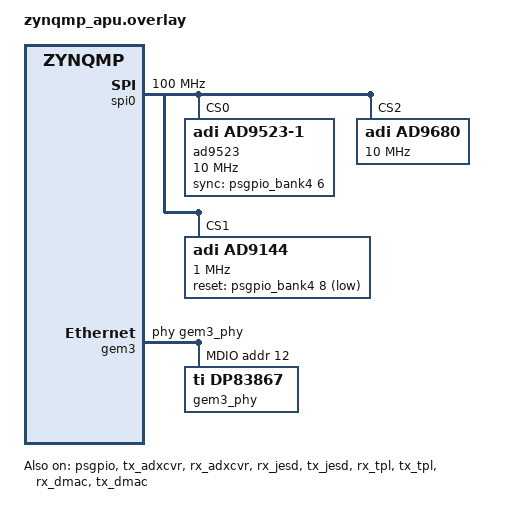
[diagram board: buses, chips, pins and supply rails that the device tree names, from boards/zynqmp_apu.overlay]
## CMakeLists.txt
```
# SPDX-License-Identifier: Apache-2.0

cmake_minimum_required(VERSION 3.28.0)

find_package(Zephyr REQUIRED HINTS $ENV{ZEPHYR_BASE})
project(daq2)

target_sources(app PRIVATE
	src/main.c
	src/daq2_bringup.c
)
target_include_directories(app PRIVATE src)
```

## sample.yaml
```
sample:
  name: DAQ2 bring-up
  description: >
    Placeholder DAQ2 (AD9680 ADC + AD9144 DAC FMC) bring-up sample. Currently a
    plain hello world; the JESD204/DMA datapath in the ZynqMP programmable logic
    will be layered on later, mirroring samples/drivers/misc/ad9081. Boot with
    scripts/flash.sh daq2, which loads the matching bitstreams/daq2 PL bitstream.
tests:
  sample.daq2:
    platform_allow:
      - zynqmp_apu
    harness: console
    harness_config:
      type: one_line
      regex:
        - "DAQ2 hello world! (.*)"
```

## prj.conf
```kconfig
# Placeholder DAQ2 sample: a plain "hello world" for now. The DAQ2 datapath
# (JESD204/DMA in the PL) will be layered on later, mirroring
# samples/drivers/misc/ad9081.
#
# The options below are the board/boot-relevant subset carried over from the
# ad9081 sample so this boots cleanly on the ZCU102 A53 with a PL bitstream
# loaded. The AD9081-specific driver enables (CONFIG_SPI / CONFIG_JESD204_AXI /
# CONFIG_HAL_ADI_AD9081 / CONFIG_AD9081 / CONFIG_DMA / CONFIG_LIBIIO ...) are
# deliberately NOT here: they require the matching devicetree nodes, which live
# in an overlay this sample does not have yet, and they target different silicon.

# Console logging, written synchronously so nothing is lost across the handoff
# from U-Boot `go` into Zephyr.
CONFIG_LOG=y
CONFIG_LOG_MODE_IMMEDIATE=y

# DAQ2 clock generator (AD9523-1) over PS SPI. CONFIG_CLOCK_CONTROL_AD9523 and
# SPI are auto-selected from the devicetree node in boards/zynqmp_apu.overlay;
# these two are the subsystem enables the driver builds on.
CONFIG_SPI=y
CONFIG_CLOCK_CONTROL=y

# DAQ2 JESD204B datapath: builds the transceiver (adxcvr) + JESD204 link cores
# (and TPL, unused in Phase 1) from the tx_/rx_adxcvr and tx_/rx_jesd nodes in
# boards/zynqmp_apu.overlay. Single symbol, as in samples/drivers/misc/ad9081.
CONFIG_JESD204_AXI=y

# Generic JESD204 bring-up FSM (subsys/jesd204): the device-walking state machine.
CONFIG_JESD204=y

# Every PL register access uses the physical address from devicetree directly.
# Implied by arm64's `select KERNEL_DIRECT_MAP if MMU`, but stated explicitly to
# match the ad9081 boot environment.
CONFIG_KERNEL_DIRECT_MAP=y

# Headroom for 1:1 device_map() of PL AXI IP-core pages once a datapath overlay
# is added; the default (12) runs out. Harmless for hello world.
CONFIG_MAX_XLAT_TABLES=24

# ZynqMP PS EMIO GPIO: drives the AD9144 RESETB (the generic BOOT.BIN psu_init
# leaves it undriven, so the DAC stays in reset without this).
CONFIG_GPIO=y

# DAQ2 datapath DMA: the adi,axi-dmac driver for the rx_dmac/tx_dmac nodes in
# boards/zynqmp_apu.overlay is auto-selected from the DT node under this symbol.
# Used for ADC capture (S2MM) and DAC playback (MM2S). TPL already builds under
# CONFIG_JESD204_AXI above.
CONFIG_DMA=y

# IIOD capture blocks are malloc'd; a 256 KiB block (-b 65536, 2ch, s16) needs
# several in flight, so 1 MiB arena. Matches the ad4630 zedboard sample.
CONFIG_HEAP_MEM_POOL_SIZE=262144
CONFIG_COMMON_LIBC_MALLOC_ARENA_SIZE=1048576
```

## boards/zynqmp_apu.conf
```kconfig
# ZCU102 ethernet for IIOD over TCP (`-S iiod-network`). Values from samples/net/zperf.
CONFIG_NETWORKING=y
CONFIG_NET_L2_ETHERNET=y
CONFIG_ETH_DRIVER=y
CONFIG_MDIO=y
CONFIG_ETH_XLNX_GEM=y
CONFIG_PHY_TI_DP83867=y
CONFIG_NET_MGMT_EVENT_STACK_SIZE=2048
CONFIG_TEST_RANDOM_GENERATOR=y
```

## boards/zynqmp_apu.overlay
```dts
/*
 * Copyright (c) 2026 Analog Devices, Inc.
 *
 * SPDX-License-Identifier: Apache-2.0
 */

#include <zephyr/dt-bindings/interrupt-controller/arm-gic.h>
#include <zephyr/dt-bindings/gpio/gpio.h>
#include <zephyr/dt-bindings/jesd204/adxcvr.h>
#include <zephyr/dt-bindings/ethernet/xlnx_gem.h>

/*
 * DAQ2 FMC (AD9680 ADC + AD9144 DAC) clock generator: an AD9523-1, reached over
 * the PS Cadence SPI0 controller routed to the FMC over EMIO. SPI reference
 * clock 100 MHz.
 *
 * SPI0 is the bus the DAQ2 bitstream wires to the FMC: ADI's Linux devicetree
 * (zynqmp-zcu102-rev10-fmcdaq2.dts) does `#define fmc_spi spi0` and enables only
 * &spi0. The AD9523 is CS0; the AD9144 (CS1) and AD9680 (CS2) share this bus but
 * are not modelled by this sample yet.
 *
 * PLL2 dividers use the EXPLICIT path (adi,pll2-*), which is 1:1 with the no-OS
 * reference math and the reviewable one, rather than the derived adi,pll2-m1-freq
 * path. Geometry, verified against the DAQ2 Linux ad9523-1 node:
 *
 *   VCXO 125 MHz, doubler off, R2 = 1, NDIV = 4*B + A = 4*6 + 0 = 24
 *     -> VCO   = 125 MHz * 24 = 3.0 GHz   (inside the -1 2.94-3.1 GHz band)
 *   M1 = 3
 *     -> VCO1 out = 3.0 GHz / 3 = 1.0 GHz (matches the Linux adi,pll2-m1-freq)
 *
 * Every output rate below is 1.0 GHz / adi,channel-divider and is queryable at
 * runtime with clock_control_get_rate().
 *
 * The board is wired 3-wire (bidirectional SDIO); adi,spi-3wire-enable below
 * keeps the chip from driving an unrouted SDO pin, which would make every
 * readback return zero.
 */
/ {
	soc {
		spi0: spi@ff040000 {
			compatible = "cdns,spi";
			reg = <0x0 0xff040000 0x0 0x1000>;
			status = "okay";
			interrupts = <GIC_SPI 19 IRQ_TYPE_LEVEL IRQ_DEFAULT_PRIORITY>;
			#address-cells = <1>;
			#size-cells = <0>;
			fifo-width = <8>;
			rx-fifo-depth = <128>;
			tx-fifo-depth = <128>;
			clock-frequency = <100000000>;

			ad9523: ad9523-1@0 {
				compatible = "adi,ad9523-1";
				reg = <0>;
				/* AD9523 SPI: mode 0, MSB first. 10 MHz is
				 * safe for register access.
				 */
				spi-max-frequency = <10000000>;

				#clock-cells = <1>;
				#address-cells = <1>;
				#size-cells = <0>;

				adi,vcxo-freq = <125000000>;

				/* SYNC = EMIO116 = bank4 pin6; undriven by BOOT.BIN, freezes outputs. */
				sync-gpios = <&psgpio_bank4 6 GPIO_ACTIVE_HIGH>;

				/* Board is 3-wire (bidirectional SDIO). */
				adi,spi-3wire-enable;

				/* PLL1 bypassed: the 125 MHz VCXO drives PLL2
				 * directly, OSCIN differential.
				 */
				adi,pll1-bypass-enable;
				adi,osc-in-diff-enable;

				/* PLL2, explicit divider path. */
				adi,pll2-charge-pump-current-na = <413000>;
				adi,pll2-r2-div = <1>;
				adi,pll2-ndiv-a-cnt = <0>;
				adi,pll2-ndiv-b-cnt = <6>;
				adi,pll2-vco-div-m1 = <3>;

				/* PLL2 loop filter (from the DAQ2 Linux node). */
				adi,rpole2 = <0>;
				adi,rzero = <7>;
				adi,cpole1 = <2>;

				/*
				 * Outputs. Any output without a node here is
				 * parked tristate + powered down by the driver.
				 * driver-mode 3 matches the DAQ2 Linux node.
				 */
				ad9523_1: channel@1 {
					reg = <1>;
					adi,extended-name = "DAC_CLK";
					adi,channel-divider = <1>;   /* 1.0 GHz */
					adi,driver-mode = <3>;
					adi,divider-phase = <1>;
				};

				ad9523_4: channel@4 {
					reg = <4>;
					adi,extended-name = "ADC_CLK_FMC";
					adi,channel-divider = <2>;   /* 500 MHz */
					adi,driver-mode = <3>;
					adi,divider-phase = <1>;
				};

				ad9523_5: channel@5 {
					reg = <5>;
					adi,extended-name = "ADC_SYSREF";
					adi,channel-divider = <128>; /* 7.8125 MHz */
					adi,driver-mode = <3>;
					adi,divider-phase = <1>;
				};

				ad9523_6: channel@6 {
					reg = <6>;
					adi,extended-name = "CLKD_ADC_SYSREF";
					adi,channel-divider = <128>;
					adi,driver-mode = <3>;
					adi,divider-phase = <1>;
				};

				ad9523_7: channel@7 {
					reg = <7>;
					adi,extended-name = "CLKD_DAC_SYSREF";
					adi,channel-divider = <128>;
					adi,driver-mode = <3>;
					adi,divider-phase = <1>;
				};

				ad9523_8: channel@8 {
					reg = <8>;
					adi,extended-name = "DAC_SYSREF";
					adi,channel-divider = <128>;
					adi,driver-mode = <3>;
					adi,divider-phase = <1>;
				};

				ad9523_9: channel@9 {
					reg = <9>;
					adi,extended-name = "FMC_DAC_REF_CLK";
					adi,channel-divider = <2>;   /* 500 MHz */
					adi,driver-mode = <3>;
					adi,divider-phase = <1>;
				};

				ad9523_13: channel@d {
					reg = <13>;
					adi,extended-name = "ADC_CLK";
					adi,channel-divider = <1>;   /* 1.0 GHz */
					adi,driver-mode = <3>;
					adi,divider-phase = <1>;
				};
			};

			/*
			 * AD9680 RX ADC, CS2 on the same SPI0 bus (ADI's Linux
			 * fmcdaq2.dts puts the AD9680 at reg = <2>). Its sample
			 * clock is the AD9523 ADC_CLK output (channel 13, 1.0 GHz).
			 *
			 * JESD204B geometry is the synthesised DAQ2 RX profile:
			 *   M=2, L=4, S=1  ->  F = M*N'*S/(8*L) = 2*16/(8*4) = 1
			 *   N=14, N'=16    ->  CS = N'-N = 2
			 *   K=32, subclass 1
			 *   lane rate = fs*M*N'*10/8/L = 1e9*2*16*1.25/4 = 10 Gbps
			 * ad9680.c BUILD_ASSERTs every derived config byte against
			 * the no-OS reference; a mismatch fails the build.
			 */
			ad9680: ad9680@2 {
				compatible = "adi,ad9680";
				reg = <2>;
				spi-max-frequency = <10000000>;

				clocks = <&ad9523 13>;
				clock-names = "adc_clk";

				adi,sampling-frequency-khz = <1000000>; /* 1 GHz */
				adi,converters-per-device = <2>;   /* M */
				adi,lanes-per-device = <4>;        /* L */
				adi,octets-per-frame = <1>;        /* F */
				adi,frames-per-multiframe = <32>;  /* K */
				adi,converter-resolution = <14>;   /* N */
				adi,bits-per-sample = <16>;        /* N' */
				adi,control-bits-per-sample = <2>; /* CS */
				adi,subclass = <1>;
			};

			/*
			 * AD9144 TX DAC, CS1 on the same SPI0 bus (ADI's Linux
			 * fmcdaq2.dts puts the AD9144 at reg = <1>). Its sample
			 * clock is the AD9523 DAC_CLK output (channel 1, 1.0 GHz).
			 *
			 * SPI is 1 MHz here (the DAQ2 Linux node's rate); mode 0
			 * (like the AD9523/AD9680 on this bus) is set by the
			 * driver's SPI operation flags, not DT. no-OS DAQ2 inits
			 * all three devices NO_OS_SPI_MODE_0.
			 *
			 * JESD204B geometry is the synthesised DAQ2 TX profile:
			 *   M=2, L=4, S=1  ->  F = M*N'*S/(8*L) = 2*16/(8*4) = 1
			 *   N=16, N'=16    ->  CS = N'-N = 0 (16-bit DAC)
			 *   HD = (F*8 < N') = (8 < 16) = 1 (derived in the driver)
			 *   K=32, subclass 1, interpolation 1
			 *   lane rate = fs*M*N'*10/(8*L*interp) = 10 Gbps
			 * ad9144.c BUILD_ASSERTs every derived config byte against
			 * the no-OS reference; a mismatch fails the build.
			 */
			ad9144: ad9144@1 {
				compatible = "adi,ad9144";
				reg = <1>;
				spi-max-frequency = <1000000>; /* DAQ2 = 1 MHz */

				clocks = <&ad9523 1>;
				clock-names = "dac_clk";

				adi,sampling-frequency-khz = <1000000>; /* 1 GHz */
				adi,converters-per-device = <2>;   /* M */
				adi,lanes-per-device = <4>;        /* L */
				adi,octets-per-frame = <1>;        /* F */
				adi,frames-per-multiframe = <32>;  /* K */
				adi,converter-resolution = <16>;   /* N */
				adi,bits-per-sample = <16>;        /* N' */
				adi,control-bits-per-sample = <0>; /* CS = N'-N */
				adi,subclass = <1>;
				adi,interpolation = <1>;

				/*
				 * DAC RESETB, active-low. ZynqMP PS EMIO 118 =
				 * bank4 pin 8 (EMIO base 78 + no-OS GPIO_OFFSET
				 * 40). no-OS drives gpio_dac_reset LOW then HIGH;
				 * the generic BOOT.BIN psu_init leaves it undriven,
				 * so the driver must release it before SPI.
				 */
				reset-gpios = <&psgpio_bank4 8 GPIO_ACTIVE_LOW>;
			};
		};

		/*
		 * ZynqMP PS GPIO controller. The A53 dtsi (zynqmp_a53.dtsi) has
		 * no GPIO node, so define it here. Only bank4 is needed: it
		 * covers EMIO 110-141, which includes the DAC RESETB (EMIO 118 =
		 * bank4 pin 8). Register offsets are derived from the bank reg
		 * index by the xlnx,ps-gpio-bank driver, so a bank4-only node is
		 * correct on its own.
		 */
		psgpio: gpio@ff0a0000 {
			compatible = "xlnx,ps-gpio";
			reg = <0x0 0xff0a0000 0x0 0x1000>;
			status = "okay";
			interrupts = <GIC_SPI 16 IRQ_TYPE_LEVEL IRQ_DEFAULT_PRIORITY>;
			interrupt-names = "irq_0";
			#address-cells = <1>;
			#size-cells = <0>;

			psgpio_bank4: psgpio_bank@4 {
				compatible = "xlnx,ps-gpio-bank";
				reg = <0x4>;
				gpio-controller;
				#gpio-cells = <2>;
				ngpios = <32>;
				status = "okay";
			};
		};

		/*
		 * DAQ2 JESD204B datapath -- Phase 1: transceiver (adxcvr) and
		 * link cores only, one per direction. No transport (TPL) or DMA
		 * yet; those are later phases.
		 *
		 * Addresses are from the on-board bitstream
		 * (bitstreams/daq2/system_top.xsa -> system.hwh MEMRANGE):
		 * axi_ad9144_xcvr / axi_ad9680_xcvr and axi_ad9144_jesd_tx_axi /
		 * axi_ad9680_jesd_rx_axi. Each reg maps a full 64 KiB page: the
		 * register block is smaller, but that is what gets device_map()ed
		 * and MMU granularity here is a page. virt == phys
		 * (CONFIG_KERNEL_DIRECT_MAP).
		 *
		 * out-clk-select = PROGDIV, NOT ADI's Linux REFCLK_DIV2. Derived
		 * from the AD9081 ZynqMP precedent on this exact SoC/GTH: with
		 * REFCLK_DIV2 the GT output clock does not run and RESET_DONE
		 * never asserts. PROGDIV is what this PL was synthesised for.
		 * REFCLK_DIV2 is the first fallback if a GT fails to lock.
		 *
		 * PLL selection mirrors no-OS DAQ2 (fmcdaq2.c) and the synthesised
		 * make param PLL_TYPE=QPLL0: TX on QPLL0, RX on CPLL. Both GT
		 * references are 500 MHz AD9523 outputs -- TX from ch9
		 * (FMC_DAC_REF_CLK), RX from ch4 (ADC_CLK_FMC).
		 */
		tx_adxcvr: adxcvr@84a60000 {
			compatible = "adi,axi-adxcvr-1.0";
			reg = <0x0 0x84a60000 0x0 0x10000>;
			status = "okay";
			label = "tx_adxcvr";

			clocks = <&ad9523 9>;   /* FMC_DAC_REF_CLK, 500 MHz */

			adi,sys-clk-select = <XCVR_QPLL>;   /* QPLL0 */
			/*
			 * REFCLK_DIV2, not PROGDIV: matches no-OS fmcdaq2.c
			 * (ad9144_xcvr .out_clk_sel = ADXCVR_REFCLK_DIV2). The FPGA
			 * link clock is the GT refclk /2 = 250 MHz, which the JESD
			 * core already reports.
			 */
			adi,out-clk-select = <XCVR_REFCLK_DIV2>;
			adi,lane-rate-khz = <10000000>;
		};

		rx_adxcvr: adxcvr@84a50000 {
			compatible = "adi,axi-adxcvr-1.0";
			reg = <0x0 0x84a50000 0x0 0x10000>;
			status = "okay";
			label = "rx_adxcvr";

			clocks = <&ad9523 4>;   /* ADC_CLK_FMC, 500 MHz */

			adi,sys-clk-select = <XCVR_CPLL>;
			/* REFCLK_DIV2, not PROGDIV: matches no-OS fmcdaq2.c
			 * (ad9680_xcvr .out_clk_sel = ADXCVR_REFCLK_DIV2).
			 */
			adi,out-clk-select = <XCVR_REFCLK_DIV2>;
			adi,lane-rate-khz = <10000000>;

			/* LPM equalisation rather than DFE -- RX only. */
			adi,use-lpm-enable;
		};

		/*
		 * JESD204 link cores. One link described from both ends: the
		 * geometry both nodes carry must agree (BUILD_ASSERTs in
		 * axi_jesd204.c). DAQ2 profile: M2 L4 F1 K32 NP16 S1, subclass 1,
		 * 10 Gbps -- matches the synthesised RX_JESD_M=2 L=4 S=1 /
		 * TX_JESD_M=2 L=4 S=1 and the ad9680/ad9144 chip DT nodes above.
		 *
		 * HD is derived in the driver (0 for this geometry), not a
		 * property -- a settable HD is how no-OS's wrong HD=1 would get
		 * copied back in.
		 */
		rx_jesd: axi-jesd204-rx@84aa0000 {
			compatible = "adi,axi-jesd204-rx-1.0";
			reg = <0x0 0x84aa0000 0x0 0x10000>;
			status = "okay";
			label = "jesd204-rx";

			adi,lanes-per-device = <4>;
			adi,converters-per-device = <2>;
			adi,octets-per-frame = <1>;
			adi,frames-per-multiframe = <32>;
			adi,bits-per-sample = <16>;
			adi,subclass = <1>;
			adi,lane-rate-khz = <10000000>;

			/*
			 * No adi,converter-resolution / -control-bits-per-sample
			 * / -samples-per-converter-per-frame: the framer receives
			 * the ILAS it is described in rather than announcing one,
			 * so N, CS and S never reach a register on this side.
			 */
		};

		tx_jesd: axi-jesd204-tx@84a90000 {
			/*
			 * Geometry cross-check only. DAQ2's TX (AD9144) and RX
			 * (AD9680) are separate converters, not one MxFE, so this
			 * is not physical single-link peering -- but both links
			 * share geometry exactly, so pointing the peer at rx_jesd
			 * satisfies JESD204_ASSERT_LINK.
			 */
			adi,jesd204-peer = <&rx_jesd>;
			compatible = "adi,axi-jesd204-tx-1.0";
			reg = <0x0 0x84a90000 0x0 0x10000>;
			status = "okay";
			label = "jesd204-tx";

			adi,lanes-per-device = <4>;
			adi,converters-per-device = <2>;
			adi,octets-per-frame = <1>;
			adi,frames-per-multiframe = <32>;
			adi,bits-per-sample = <16>;
			adi,subclass = <1>;
			adi,lane-rate-khz = <10000000>;

			/* ILAS-only, so the deframer carries these and the framer
			 * does not.
			 */
			adi,converter-resolution = <16>;
			adi,control-bits-per-sample = <0>;
			adi,samples-per-converter-per-frame = <1>;
		};

		/*
		 * JESD204 transport (TPL) cores -- ADC framer / DAC deframer
		 * datapath. Same IP as the AD9081 sample (ad_ip_jesd204_tpl_core),
		 * so the existing adi,axi-ad9081-{rx,tx}-1.0 compatibles bind; the
		 * axi_tpl.c driver keys only on those. adi,num-channels = 2 (M=2,
		 * not the AD9081 profile's 8).
		 *
		 * Addresses from the on-board bitstream (system.hwh MEMRANGE):
		 * axi_ad9680_tpl/adc_tpl_core and axi_ad9144_tpl/dac_tpl_core. Each
		 * reg maps a full 64 KiB page (device_map() granularity); virt ==
		 * phys (CONFIG_KERNEL_DIRECT_MAP).
		 */
		rx_tpl: axi-ad9081-rx@84a10000 {   /* adc_tpl_core */
			compatible = "adi,axi-ad9081-rx-1.0";
			reg = <0x0 0x84a10000 0x0 0x10000>;
			adi,num-channels = <2>;         /* M=2 */
			adi,pcore-version-min-major = <9>;
			label = "adc-tpl";
			status = "okay";
		};

		tx_tpl: axi-ad9081-tx@84a04000 {   /* dac_tpl_core */
			adi,jesd204-peer = <&rx_tpl>;
			compatible = "adi,axi-ad9081-tx-1.0";
			reg = <0x0 0x84a04000 0x0 0x10000>;
			adi,num-channels = <2>;         /* M=2 */
			label = "dac-tpl";
			status = "okay";
		};

		/*
		 * DAQ2 datapath DMA engines (ADI AXI DMAC). Addresses from the
		 * on-board bitstream (system.hwh MEMRANGE): axi_ad9680_dma is S2MM
		 * (device -> memory, ADC capture), axi_ad9144_dma is MM2S (memory
		 * -> device, DAC playback). Direction / data width / cyclic support
		 * are auto-probed from the core, so only reg is needed. No interrupt
		 * is wired to the PS GIC for these cores; the driver polls
		 * (dma_get_status pumps the transfer).
		 */
		rx_dmac: dma@9c400000 {   /* axi_ad9680_dma, S2MM */
			compatible = "adi,axi-dmac";
			reg = <0x0 0x9c400000 0x0 0x10000>;
			#dma-cells = <1>;
			status = "okay";
		};

		tx_dmac: dma@9c420000 {   /* axi_ad9144_dma, MM2S */
			compatible = "adi,axi-dmac";
			reg = <0x0 0x9c420000 0x0 0x10000>;
			#dma-cells = <1>;
			status = "okay";
		};
	};
};

/* ZCU102 ethernet for IIOD over TCP. Proven values from samples/net/zperf. */
/ {
	chosen {
		zephyr,ethernet = &gem3;
	};
};

&soc {
	gem3: ethernet@ff0e0000 {
		compatible = "xlnx,gem";
		reg = <0x0 0xff0e0000 0x0 0x1000>,	/* mac */
		      <0x0 0xff5e005c 0x0 0x4>;		/* CRL_APB GEM3_CLK_CTRL */
		reg-names = "mac", "clkc";
		status = "okay";

		interrupts = <GIC_SPI 63 IRQ_TYPE_LEVEL IRQ_DEFAULT_PRIORITY>,
			     <GIC_SPI 64 IRQ_TYPE_LEVEL IRQ_DEFAULT_PRIORITY>;
		interrupt-names = "irq_0", "irq_1";

		clock-frequency = <1500000000>;
		phy-handle = <&gem3_phy>;

		amba-ahb-burst-length = <XLNX_GEM_AMBA_AHB_BURST_INCR16>;
		hw-rx-buffer-size = <XLNX_GEM_HW_RX_BUFFER_SIZE_8KB>;
		hw-rx-buffer-offset = <0>;
		hw-tx-buffer-size-full;
		rx-buffer-descriptors = <32>;
		tx-buffer-descriptors = <32>;
		rx-buffer-size = <1536>;
		tx-buffer-size = <1536>;
		discard-rx-fcs;
		unicast-hash;

		local-mac-address = [ 00 0a 35 01 67 01 ];

		gem3_mdio: mdio {
			compatible = "xlnx,gem-mdio";
			status = "okay";
			#address-cells = <1>;
			#size-cells = <0>;

			gem3_phy: phy@c {
				compatible = "ti,dp83867";
				reg = <12>;
				status = "okay";
				ti,interface-type = "rgmii-id";
				ti,rx-internal-delay = <0x8>;
				ti,tx-internal-delay = <0xa>;
				ti,dp83867-rxctrl-strap-quirk;
			};
		};
	};
};

/* IIOD-exposed capture/playback datapaths (io-name = Linux DAQ2 convention). */
/ {
	rx_iio: jesd-iio-rx {
		compatible = "adi,axi-jesd-iio";
		io-name = "axi-ad9680-hpc";
		adi,tpl = <&rx_tpl>;
		dmas = <&rx_dmac 0>;
		dma-names = "rx";
		adi,converters-per-device = <2>;	/* M */
		status = "okay";
	};

	tx_iio: jesd-iio-tx {
		compatible = "adi,axi-jesd-iio";
		io-name = "axi-ad9144-hpc";
		adi,tpl = <&tx_tpl>;
		dmas = <&tx_dmac 0>;
		dma-names = "tx";
		adi,converters-per-device = <2>;	/* M */
		status = "okay";
	};
};
```

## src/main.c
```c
/*
 * Copyright (c) 2026 Analog Devices, Inc.
 *
 * SPDX-License-Identifier: Apache-2.0
 */

/*
 * DAQ2 JESD204 bring-up -- Phase 1b: enable the link.
 *
 * The AD9523 clock generator and the AD9144 (TX DAC) / AD9680 (RX ADC) come up
 * over SPI at POST_KERNEL init. This orchestrates the FPGA-side datapath the
 * chips' PLLs depend on: configure the transceivers (GT/QPLL/CPLL), configure
 * the JESD204 link cores, then hand off to the generic FSM to *enable* the link
 * in the correct phase order -- GT reset-release, lane clocks, chip PLL re-check,
 * link status.
 *
 * The configure/enable split matches the AD9081 sample: main() runs the configure
 * path, then daq2_jesd204_bringup() (daq2_bringup.c) walks the enable phases. The
 * transport (TPL) and DMA are later phases.
 */

#include <zephyr/kernel.h>
#include <zephyr/device.h>
#include <zephyr/devicetree.h>
#include <zephyr/cache.h>
#include <zephyr/drivers/dma.h>

#include <zephyr/drivers/misc/jesd204/axi_adxcvr.h>
#include <zephyr/drivers/misc/jesd204/axi_jesd204.h>
#include <zephyr/drivers/misc/jesd204/axi_tpl.h>
#include "daq2_bringup.h"

#include <zephyr/logging/log.h>
LOG_MODULE_REGISTER(daq2, LOG_LEVEL_INF);

#define TX_ADXCVR DEVICE_DT_GET(DT_NODELABEL(tx_adxcvr))
#define RX_ADXCVR DEVICE_DT_GET(DT_NODELABEL(rx_adxcvr))
#define TX_JESD   DEVICE_DT_GET(DT_NODELABEL(tx_jesd))
#define RX_JESD   DEVICE_DT_GET(DT_NODELABEL(rx_jesd))
#define TX_TPL    DEVICE_DT_GET(DT_NODELABEL(tx_tpl))
#define RX_TPL    DEVICE_DT_GET(DT_NODELABEL(rx_tpl))

/**
 * @brief Max JESD204 bring-up attempts before giving up (best-effort).
 *
 * The old DAQ2 FMC's TX link is physical-layer marginal: every software-visible
 * status (GT PLL/reset, DAC SERDES PLL, DAC LMFC sync) reads healthy on failed
 * attempts, yet the deframer intermittently misses CGS comma detection. Each
 * attempt fully resets the GT, so attempts are independent rolls; convergence is
 * probabilistic, hence a generous budget rather than the old 8.
 */
#define JESD_BRINGUP_MAX_ATTEMPTS 40

/*
 * RX capture window: M=2 converters, 16-bit signed each, a power-of-two number
 * of samples so the window holds a whole number of DAC-tone cycles (the loopback
 * check below depends on that). The tone sits on exact FFT bin 24.
 */
#define RX_CAPTURE_NUM_CHAN         2   /* M=2 */
#define RX_CAPTURE_SAMPLES_PER_CHAN 64
#define RX_CAPTURE_TONE_BIN         24

/*
 * DAC output tone. The DDS phase accumulator runs at the converter sample rate,
 * 1 GSPS on this link (lane 10G, M2/L4/NP16). Unlike the AD9081 sample there is
 * no coarse NCO on the AD9144/AD9680, so the tone appears directly at its
 * frequency -- no +1 GHz shift back to baseband.
 *
 * tone = sample_rate * bin / samples = 1e9 * 24 / 64 = 375 MHz (exact bin).
 */
#define DAC_DDS_SAMPLE_RATE (1000 * 1000 * 1000)     /* 1 GSPS */
#define DAC_DDS_TONE_HZ (DAC_DDS_SAMPLE_RATE / RX_CAPTURE_SAMPLES_PER_CHAN * RX_CAPTURE_TONE_BIN) /* 375 MHz */
#define DAC_DDS_SCALE_MICRO (500 * 1000)             /* 0.50 FS; 5% reads as noise */

/*
 * Loopback pass threshold: percentage of captured energy that must land in
 * RX_CAPTURE_TONE_BIN. Low enough that cable loss and ADC noise cannot fail a
 * working path, high enough that noise alone cannot pass -- 64 bins of pure
 * noise puts about 1.5% in any one bin.
 */
#define RX_CAPTURE_TONE_MIN_PCT 25

/* Generous for the small transfer; only has to bound a stall, not pace it. */
#define RX_CAPTURE_TIMEOUT_MS 100

static int16_t rx_capture_buf[RX_CAPTURE_NUM_CHAN * RX_CAPTURE_SAMPLES_PER_CHAN] __aligned(64);

/*
 * cos(2*pi*n/RX_CAPTURE_SAMPLES_PER_CHAN) * 4096, one full turn. Stated in full
 * rather than folded from a quarter table: the folding is easy to get wrong by
 * half a sample and the saving is 192 bytes of rodata.
 */
static const int32_t cos_q12[RX_CAPTURE_SAMPLES_PER_CHAN] = {
	4096,  4076,  4017,  3920,  3784,  3612,  3406,  3166,  2896,  2598,  2276,  1931,  1567,
	1189,  799,   401,   0,     -401,  -799,  -1189, -1567, -1931, -2276, -2598, -2896, -3166,
	-3406, -3612, -3784, -3920, -4017, -4076, -4096, -4076, -4017, -3920, -3784, -3612, -3406,
	-3166, -2896, -2598, -2276, -1931, -1567, -1189, -799,  -401,  0,     401,   799,   1189,
	1567,  1931,  2276,  2598,  2896,  3166,  3406,  3612,  3784,  3920,  4017,  4076,
};

/*
 * How much of a channel's captured energy sits in one DFT bin. Single-bin DFT,
 * integer throughout: the tone is on an exact bin, so the basis only needs the
 * cosine table above, keeping this off soft-float on an FPU-less build.
 */
static unsigned int rx_capture_bin_pct(unsigned int chan, unsigned int bin)
{
	int64_t re = 0, im = 0, energy = 0;
	int32_t mean = 0;

	/* Remove DC first: an ADC offset is a bin-0 term that would inflate the
	 * energy the fraction is taken against and understate a good tone.
	 */
	for (int n = 0; n < RX_CAPTURE_SAMPLES_PER_CHAN; n++) {
		mean += rx_capture_buf[n * RX_CAPTURE_NUM_CHAN + chan];
	}
	mean /= RX_CAPTURE_SAMPLES_PER_CHAN;

	for (int n = 0; n < RX_CAPTURE_SAMPLES_PER_CHAN; n++) {
		int32_t x = rx_capture_buf[n * RX_CAPTURE_NUM_CHAN + chan] - mean;
		/* sin(t) = cos(t - 90 degrees), i.e. a quarter turn back. */
		int32_t phase = (bin * n) % RX_CAPTURE_SAMPLES_PER_CHAN;
		int32_t quarter = RX_CAPTURE_SAMPLES_PER_CHAN / 4;

		re += (int64_t)x * cos_q12[phase];
		im -= (int64_t)x * cos_q12[(phase + 3 * quarter) % RX_CAPTURE_SAMPLES_PER_CHAN];
		energy += (int64_t)x * x;
	}

	if (energy == 0) {
		return 0;
	}

	/* Parseval for a real signal: the bin and its mirror hold 2*|X_k|^2/N of
	 * the total. Descale the two q12 factors before dividing.
	 */
	re >>= 12;
	im >>= 12;
	return (unsigned int)((200ULL * (uint64_t)(re * re + im * im)) /
			      ((uint64_t)energy * RX_CAPTURE_SAMPLES_PER_CHAN));
}

/*
 * Report the tone fraction for every captured channel. Both of them, not just
 * ch0: which converter a cabled input lands on depends on the crossbar, so a
 * single-channel check reports "no tone" for a loopback on the other channel.
 */
static void rx_capture_check_tone(void)
{
	unsigned int best_pct = 0, best_chan = 0;

	for (unsigned int c = 0; c < RX_CAPTURE_NUM_CHAN; c++) {
		unsigned int pct = rx_capture_bin_pct(c, RX_CAPTURE_TONE_BIN);
		unsigned int top_pct = 0, top_bin = 0;
		int16_t peak = 0;

		/* Which bin actually holds the most, and how large the samples are:
		 * without these, a tone at the wrong frequency and no tone at all
		 * both just report a low fraction in the expected bin.
		 */
		for (unsigned int b = 1; b < RX_CAPTURE_SAMPLES_PER_CHAN / 2; b++) {
			unsigned int p = rx_capture_bin_pct(c, b);

			if (p > top_pct) {
				top_pct = p;
				top_bin = b;
			}
		}

		for (int n = 0; n < RX_CAPTURE_SAMPLES_PER_CHAN; n++) {
			int16_t v = rx_capture_buf[n * RX_CAPTURE_NUM_CHAN + c];

			if (v > peak) {
				peak = v;
			}
		}

		/* One line per channel only when a channel is unexpected: carrying
		 * the tone, or piling energy into some other bin. Noise-floor
		 * channels say nothing.
		 */
		if (pct >= RX_CAPTURE_TONE_MIN_PCT || top_pct >= RX_CAPTURE_TONE_MIN_PCT) {
			LOG_INF("RX capture: ch%u bin%u=%u%%, strongest bin%u=%u%% (%u MHz), peak %d",
				c, RX_CAPTURE_TONE_BIN, pct, top_bin, top_pct,
				top_bin * (DAC_DDS_SAMPLE_RATE / 1000000U) /
					RX_CAPTURE_SAMPLES_PER_CHAN,
				peak);
		}

		if (pct > best_pct) {
			best_pct = pct;
			best_chan = c;
		}
	}

	if (best_pct >= RX_CAPTURE_TONE_MIN_PCT) {
		LOG_INF("SUCCESS: loopback tone present at %u MHz on ch%u (%u%%)",
			DAC_DDS_TONE_HZ / 1000000U, best_chan, best_pct);
	} else {
		LOG_WRN("no loopback tone on any channel (best %u%% on ch%u, want >=%u%%) -- "
			"expected unless a DAC output is cabled to an ADC input",
			best_pct, best_chan, RX_CAPTURE_TONE_MIN_PCT);
	}
}

/*
 * Fill rx_capture_buf with one DMA transfer's worth of samples. Returns 0 once
 * the buffer holds fresh, cache-invalidated samples.
 */
static int rx_capture_fetch(void)
{
	const struct device *dmac = DEVICE_DT_GET(DT_NODELABEL(rx_dmac));
	struct dma_block_config block = {
		.dest_address = (uintptr_t)rx_capture_buf,
		.block_size = sizeof(rx_capture_buf),
	};
	struct dma_config cfg = {
		.channel_direction = PERIPHERAL_TO_MEMORY,
		.block_count = 1,
		.head_block = &block,
		.dest_data_size = sizeof(int16_t),
		.dest_burst_length = sizeof(int16_t),
	};
	struct dma_status status;
	int64_t deadline;
	int ret;

	if (!device_is_ready(dmac)) {
		LOG_WRN("rx_dmac not ready, skipping RX capture dump");
		return -ENODEV;
	}

	ret = dma_config(dmac, 0, &cfg);
	if (ret) {
		LOG_WRN("rx_dmac config failed (%d), skipping RX capture dump", ret);
		return ret;
	}

	ret = dma_start(dmac, 0);
	if (ret) {
		LOG_WRN("rx_dmac start failed (%d), skipping RX capture dump", ret);
		return ret;
	}

	/* No interrupt wired to this core -- dma_get_status() self-pumps the
	 * transfer on each poll, so it must be polled to completion. Bounded so a
	 * stalled transfer cannot hang a link that is already up.
	 */
	deadline = k_uptime_get() + RX_CAPTURE_TIMEOUT_MS;
	do {
		ret = dma_get_status(dmac, 0, &status);
		if (ret) {
			LOG_WRN("rx_dmac status read failed (%d)", ret);
			return ret;
		}

		if (k_uptime_get() > deadline) {
			LOG_WRN("rx_dmac transfer did not complete in %d ms",
				RX_CAPTURE_TIMEOUT_MS);
			return -ETIMEDOUT;
		}
	} while (status.busy);

	sys_cache_data_invd_range(rx_capture_buf, sizeof(rx_capture_buf));

	return 0;
}

/*
 * Kick a single DEV_TO_MEM transfer on rx_dmac and check the captured samples
 * for the loopback tone, so a signal fed into the ADC can be confirmed present
 * in the digital samples without any host-side IIO tooling.
 *
 * Best-effort: the link is already up, and with no loopback cable fitted a "no
 * tone" result is expected, so this warns rather than failing.
 */
static void rx_capture_dump(void)
{
	if (rx_capture_fetch()) {
		return;
	}

	rx_capture_check_tone();

#if defined(RX_SAMPLE_DUMP)
	/* Raw samples, one line each. Only useful when the per-bin figures above
	 * are themselves in doubt, so off by default.
	 */
	LOG_INF("RX capture: ch0, all %u samples:", RX_CAPTURE_SAMPLES_PER_CHAN);
	for (int i = 0; i < RX_CAPTURE_SAMPLES_PER_CHAN; i++) {
		LOG_INF("  [%2d] ch0 = %6d", i,
			rx_capture_buf[i * RX_CAPTURE_NUM_CHAN]);
	}
#endif
}

int main(void)
{
	int ret;

	LOG_INF("DAQ2 JESD204 bring-up (Phase 1b: enable the link)");

	/*
	 * Step 1: transceivers. Brings up the GT and its PLL (TX QPLL0 / RX
	 * CPLL); axi_adxcvr_configure() logs each PLL's lock. TX before RX, the
	 * order the AD9081 sample uses.
	 */
	ret = axi_adxcvr_configure(TX_ADXCVR);
	if (ret == 0) {
		ret = axi_adxcvr_configure(RX_ADXCVR);
	}
	if (ret) {
		LOG_ERR("AXI adxcvr (GT) config failed (%d)", ret);
		return ret;
	}
	LOG_INF("SUCCESS: GT transceivers configured (TX QPLL0 / RX CPLL)");

	/*
	 * Step 2b: TPL transport cores -- RX sample format/enable, TX data-source
	 * select. Configured before bring-up; verified (axi_tpl_enable) after DATA,
	 * because the DAC SYNC and STATUS/clock readback are only meaningful against
	 * a running sample clock. Best-effort: the link is the deliverable here.
	 * Config-only and independent of the link cores, so done once, ahead of the
	 * bring-up retry loop below.
	 */
	if (axi_tpl_configure(RX_TPL) || axi_tpl_configure(TX_TPL)) {
		LOG_WRN("TPL transport config failed (continuing, link is unaffected)");
	} else {
		LOG_INF("SUCCESS: TPL transport cores configured (%d converters)",
			DT_PROP(DT_NODELABEL(rx_tpl), adi_num_channels));
	}

	/*
	 * Steps 2+3, retried: the TX link (FPGA framer -> AD9144 deframer) on this
	 * hot, old DAQ2 FMC is marginal -- it reaches DATA on some boots and stalls
	 * at CGS/ILAS on others (verified 2026-09-07, same binary, boot-to-boot).
	 * Re-training a stalled link needs a LINK_DISABLE 1->0 edge:
	 * axi_jesd204_configure() re-asserts disable (=1), the FSM's lane-clock
	 * enable clears it (=0), so each pass restarts CGS. Re-running bring-up
	 * alone would re-write 0 to an already-enabled link -- no edge, no retrain.
	 * Both links are re-configured/re-trained each pass; RX comes up reliably
	 * and re-training it is harmless. Best-effort is preserved:
	 * daq2_jesd204_bringup() still logs how far each link advanced every pass,
	 * and a run that never reaches DATA warns rather than aborts.
	 */
	for (int attempt = 1; attempt <= JESD_BRINGUP_MAX_ATTEMPTS; attempt++) {
		/* Step 2: JESD204 link cores -- program geometry + ILAS, held
		 * disabled. TX before RX, as in the AD9081 sample. */
		ret = axi_jesd204_configure(TX_JESD);
		if (ret == 0) {
			ret = axi_jesd204_configure(RX_JESD);
		}
		if (ret) {
			LOG_ERR("AXI jesd204 link config failed (%d)", ret);
			return ret;
		}
		if (attempt == 1) {
			LOG_INF("SUCCESS: JESD204 link cores configured (M%d/L%d/F%d/K%d)",
				DT_PROP(DT_NODELABEL(tx_jesd), adi_converters_per_device),
				DT_PROP(DT_NODELABEL(tx_jesd), adi_lanes_per_device),
				DT_PROP(DT_NODELABEL(tx_jesd), adi_octets_per_frame),
				DT_PROP(DT_NODELABEL(tx_jesd), adi_frames_per_multiframe));
		}

		/* Step 3: enable the link via the generic FSM -- releases the GT
		 * reset, enables the FPGA lane clocks, re-reads each chip PLL, and
		 * polls each link core for DATA. */
		ret = daq2_jesd204_bringup();
		if (ret == 0) {
			LOG_INF("SUCCESS: DAQ2 JESD204 links up (both ends carrying DATA)"
				" on attempt %d", attempt);
			/* Both links up: dump each core's full status table once. */
			axi_jesd204_status_print(TX_JESD);
			axi_jesd204_status_print(RX_JESD);
			break;
		}
		LOG_WRN("DAQ2 JESD204 link bring-up incomplete (%d), attempt %d/%d",
			ret, attempt, JESD_BRINGUP_MAX_ATTEMPTS);
	}
	if (ret) {
		LOG_WRN("DAQ2 JESD204 link did not reach DATA after %d attempts",
			JESD_BRINGUP_MAX_ATTEMPTS);
	}

	/*
	 * Step 4: per-lane RX watchdog snapshot. Best-effort diagnostic on top of
	 * the status the FSM's LINK_RUNNING phase already read.
	 */
	(void)axi_jesd204_rx_watchdog(RX_JESD);

	/*
	 * Step 5: verify the transport layer now that the link underneath carries
	 * DATA -- re-latches the DAC SYNC and reads both cores' STATUS. Best-effort:
	 * a TPL complaint is a datapath issue below the link, not a link failure.
	 */
	if (axi_tpl_enable(RX_TPL, TX_TPL)) {
		LOG_WRN("TPL post-link verify failed (link is up regardless)");
	}

	/*
	 * Step 6: drive the DAC converters from the transport core's internal DDS.
	 * No coarse NCO on the AD9144, so the tone appears directly at 375 MHz --
	 * scope the DAC SMA to see it. Best-effort.
	 */
	if (axi_tpl_tx_dds(TX_TPL, DAC_DDS_TONE_HZ, DAC_DDS_SAMPLE_RATE,
			   DAC_DDS_SCALE_MICRO, true)) {
		LOG_WRN("could not arm the DAC DDS tone");
	} else {
		LOG_INF("SUCCESS: DAC emitting a %u MHz DDS tone at %u%% full scale",
			DAC_DDS_TONE_HZ / 1000000U, DAC_DDS_SCALE_MICRO / 10000U);
	}

	/*
	 * Step 7: RX capture over rx_dmac + single-bin loopback check. Confirms
	 * samples reach the CPU (proves the RX datapath even with no cable, via ADC
	 * noise) and, with a DAC->ADC cable fitted, that the tone completes the
	 * loopback.
	 */
	rx_capture_dump();

	LOG_INF("SUCCESS: DAQ2 Phase 1b bring-up complete");

	return 0;
}
```

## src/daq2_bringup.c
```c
/*
 * Copyright (c) 2026 Analog Devices, Inc.
 *
 * DAQ2 JESD204B bring-up -- this board's device state tables and topology.
 *
 * The other half is jesd204_fsm.c, the generic phase walker (copied verbatim
 * from the AD9081 sample). It knows about phases, links and visit order and
 * nothing about any converter, transceiver or FPGA core. Everything board- and
 * chip-specific is here; the walker calls back into this file, never the reverse.
 *
 * DAQ2 differs from the AD9081 board in a way that shapes this file: it has two
 * *separate* converters, an AD9144 TX DAC and an AD9680 RX ADC, each on its own
 * single-direction JESD204 link, rather than one MxFE serving both a framer and a
 * deframer link. So instead of one topology with a single top device owning two
 * links, there are TWO independent single-link topologies, each with its own
 * converter as top device, walked in turn (TX then RX). The two links are
 * physically independent, so the order between the walks should not matter
 * (UNVERIFIED).
 *
 * What each side must do to come up (the enable path Phase 1's linear configure
 * path was missing):
 *
 *   CLOCKS_ENABLE  GT reset-release (adxcvr), then FPGA lane clocks (jesd core),
 *                  then -- because the converter is the top device and top
 *                  devices are visited last -- the chip's PLL lock re-read. The
 *                  adxcvr must precede the link core (it needs a running GT
 *                  clock), and the PLL check is only meaningful once the GT is
 *                  up, so the converter goes last. Getting this order wrong is
 *                  exactly what Phase 1's linear sequence did: it re-read the
 *                  chip PLLs with the GT still in reset and the link disabled.
 *   LINK_RUNNING   poll the link's FPGA core for DATA, then read its status word.
 *
 * No LINK_ENABLE phase: both DAQ2 converters already enable their own
 * framer/deframer at init() (ad9144.c, ad9680.c), so unlike the AD9081 sample
 * there is no chip-side deframer enable to drive here.
 *
 * The chip PLL re-read is non-fatal: whether the AD9144 SERDES PLL and AD9680
 * JESD PLL lock once the FPGA datapath is armed is the empirical unknown this
 * phase exists to resolve, so it is logged, not gated.
 *
 * SYSREF: the AD9523 emits DEV/FPGA SYSREF continuously, so no device registers
 * a sysref_cb and no phase requests a pulse -- as in the AD9081 sample.
 * Subclass-1 alignment against that free-running SYSREF is UNVERIFIED for DAQ2.
 *
 * SPDX-License-Identifier: Apache-2.0
 */

#include <zephyr/kernel.h>

#include <zephyr/logging/log.h>
LOG_MODULE_REGISTER(daq2_fsm, LOG_LEVEL_INF);

#include <zephyr/drivers/misc/jesd204/axi_adxcvr.h>
#include <zephyr/drivers/misc/jesd204/axi_jesd204.h>
#include <zephyr/drivers/misc/ad9144.h>
#include <zephyr/drivers/misc/ad9680.h>
#include <zephyr/jesd204/jesd204_fsm.h>
#include "daq2_bringup.h"

/*
 * Single link per topology. DAQ2's two converters are independent, each the top
 * device of its own topology, so both use link id 0 -- the id only has to be
 * unique within a topology, and each topology has just the one link.
 */
#define DAQ2_LINK0 0

/* ------------------------------------------------------- GT transceivers --- */

/*
 * One jesd204_dev per adxcvr instance, each carrying its Zephyr device in
 * `priv`. The phase table (adxcvr_jesd204_data) lives in the axi_adxcvr driver;
 * the topology says which instance serves which link.
 */
static struct jesd204_dev tx_adxcvr_jdev = {
	.name = "tx_adxcvr",
	.dev_data = &adxcvr_jesd204_data,
	.priv = (void *)DEVICE_DT_GET(DT_NODELABEL(tx_adxcvr)),
};

static struct jesd204_dev rx_adxcvr_jdev = {
	.name = "rx_adxcvr",
	.dev_data = &adxcvr_jesd204_data,
	.priv = (void *)DEVICE_DT_GET(DT_NODELABEL(rx_adxcvr)),
};

/* ---------------------------------------------------- FPGA JESD204 cores --- */

/* Phase table (axi_jesd204_jesd204_data) lives in the axi_jesd204 driver. */
static struct jesd204_dev tx_jesd_jdev = {
	.name = "tx_jesd",
	.dev_data = &axi_jesd204_jesd204_data,
	.priv = (void *)DEVICE_DT_GET(DT_NODELABEL(tx_jesd)),
};

static struct jesd204_dev rx_jesd_jdev = {
	.name = "rx_jesd",
	.dev_data = &axi_jesd204_jesd204_data,
	.priv = (void *)DEVICE_DT_GET(DT_NODELABEL(rx_jesd)),
};

/* ------------------------------------------------------------ converters --- */

/* Phase table (ad9144_jesd204_data) lives in the ad9144 driver. */
static struct jesd204_dev ad9144_jdev = {
	.name = "ad9144",
	.dev_data = &ad9144_jesd204_data,
	.priv = (void *)DEVICE_DT_GET(DT_NODELABEL(ad9144)),
};

/* Phase table (ad9680_jesd204_data) lives in the ad9680 driver. */
static struct jesd204_dev ad9680_jdev = {
	.name = "ad9680",
	.dev_data = &ad9680_jesd204_data,
	.priv = (void *)DEVICE_DT_GET(DT_NODELABEL(ad9680)),
};

/* ------------------------------------------------------------ topologies --- */

/*
 * TX topology: FPGA transceiver out of reset, then the link core's lane clock,
 * then (last, by is_top_device) the AD9144. is_transmit = true throughout: from
 * the converter's point of view the TX DAC receives JESD and drives analogue out.
 */
static const struct jesd204_topology_dev tx_topology_devs[] = {
	{
		.jdev = &tx_adxcvr_jdev,
		.link_ids = { DAQ2_LINK0 },
		.is_transmit = { true },
		.links_number = 1,
	},
	{
		.jdev = &tx_jesd_jdev,
		.link_ids = { DAQ2_LINK0 },
		.is_transmit = { true },
		.links_number = 1,
	},
	{
		.jdev = &ad9144_jdev,
		.link_ids = { DAQ2_LINK0 },
		.is_transmit = { true },
		.links_number = 1,
		.is_top_device = true,
	},
};

/*
 * RX topology: same shape, is_transmit = false -- the RX ADC samples analogue in
 * and transmits JESD.
 */
static const struct jesd204_topology_dev rx_topology_devs[] = {
	{
		.jdev = &rx_adxcvr_jdev,
		.link_ids = { DAQ2_LINK0 },
		.is_transmit = { false },
		.links_number = 1,
	},
	{
		.jdev = &rx_jesd_jdev,
		.link_ids = { DAQ2_LINK0 },
		.is_transmit = { false },
		.links_number = 1,
	},
	{
		.jdev = &ad9680_jdev,
		.link_ids = { DAQ2_LINK0 },
		.is_transmit = { false },
		.links_number = 1,
		.is_top_device = true,
	},
};

static struct jesd204_topology tx_topology;
static struct jesd204_topology rx_topology;

/*
 * Every device in a topology must be ready before its walk is attempted.
 * device_is_ready(), not a NULL check: DEVICE_DT_GET() resolves at build time and
 * can never be NULL, so it fails only if a node's init() returned an error. A
 * node given status = "disabled" fails the BUILD_ASSERT below at build time
 * rather than producing a device missing at run time.
 */
#define DAQ2_TX_PARTICIPANTS(fn)		\
	fn(DT_NODELABEL(tx_adxcvr))		\
	fn(DT_NODELABEL(tx_jesd))		\
	fn(DT_NODELABEL(ad9144))

#define DAQ2_RX_PARTICIPANTS(fn)		\
	fn(DT_NODELABEL(rx_adxcvr))		\
	fn(DT_NODELABEL(rx_jesd))		\
	fn(DT_NODELABEL(ad9680))

#define DAQ2_ASSERT_ENABLED(node_id)						\
	BUILD_ASSERT(DT_NODE_HAS_STATUS_OKAY(node_id),				\
		     "DAQ2 JESD204 topology names a disabled node: "		\
		     DT_NODE_FULL_NAME(node_id));

DAQ2_TX_PARTICIPANTS(DAQ2_ASSERT_ENABLED)
DAQ2_RX_PARTICIPANTS(DAQ2_ASSERT_ENABLED)

#define DAQ2_CHECK_READY(node_id)						\
	if (!device_is_ready(DEVICE_DT_GET(node_id))) {				\
		LOG_ERR("DAQ2 JESD204 device not initialised: %s",		\
			DEVICE_DT_GET(node_id)->name);				\
		return -ENODEV;							\
	}

static int tx_participants_ready(void)
{
	DAQ2_TX_PARTICIPANTS(DAQ2_CHECK_READY)
	return 0;
}

static int rx_participants_ready(void)
{
	DAQ2_RX_PARTICIPANTS(DAQ2_CHECK_READY)
	return 0;
}

/*
 * Walk one topology to completion. Returns 0 if the link reaches running state,
 * -errno if the walk could not be started, or -EIO if it failed to come fully up.
 */
static int daq2_link_bringup(const char *tag, struct jesd204_topology *topology,
			     const struct jesd204_topology_dev *devs, size_t n)
{
	int failures;
	int ret;

	ret = jesd204_topology_init(topology, devs, n);
	if (ret) {
		LOG_ERR("%s topology is malformed (%d)", tag, ret);
		return ret;
	}

	failures = jesd204_fsm_start(topology, JESD204_LINKS_ALL);
	if (failures < 0) {
		return failures;
	}

	if (failures) {
		LOG_WRN("=== %s JESD204B link NOT fully up (%d failed step(s)) ===",
			tag, failures);
		return -EIO;
	}

	LOG_INF("=== %s JESD204B LINK UP (carrying DATA) ===", tag);
	return 0;
}

int daq2_jesd204_bringup(void)
{
	int ret;
	int first_err = 0;

	ret = tx_participants_ready();
	if (ret) {
		return ret;
	}
	ret = rx_participants_ready();
	if (ret) {
		return ret;
	}

	/*
	 * Two independent walks, TX then RX. Both are attempted even if the first
	 * fails -- the links are separate converters, so an RX result is still
	 * worth having when TX did not come up. The first error is returned.
	 */
	ret = daq2_link_bringup("TX", &tx_topology, tx_topology_devs,
				ARRAY_SIZE(tx_topology_devs));
	if (ret && !first_err) {
		first_err = ret;
	}

	ret = daq2_link_bringup("RX", &rx_topology, rx_topology_devs,
				ARRAY_SIZE(rx_topology_devs));
	if (ret && !first_err) {
		first_err = ret;
	}

	return first_err;
}
```

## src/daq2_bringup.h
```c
/*
 * Copyright (c) 2026 Analog Devices, Inc.
 *
 * DAQ2 JESD204B bring-up -- enable path over the reused generic FSM.
 *
 * SPDX-License-Identifier: Apache-2.0
 */

#ifndef DAQ2_BRINGUP_H_
#define DAQ2_BRINGUP_H_

/**
 * @brief Enable both DAQ2 JESD204 links and re-check the converter PLLs.
 *
 * Assumes the FPGA blocks have already been *configured* (adxcvr GT/PLL and the
 * JESD204 link cores), the same configure-then-enable split the AD9081 sample
 * uses. Both converters (AD9144 TX DAC, AD9680 RX ADC) already enable their own
 * framer/deframer at init(), so this only drives the FPGA-side enable and a chip
 * PLL re-read, in the order the enable path requires: GT reset-release, then the
 * link cores' lane clocks, then (top device, visited last) the chip PLL check.
 *
 * DAQ2 has two independent converters, so each is the top device of its own
 * single-link topology. Two independent FSM walks run, TX then RX; the two links
 * are physically separate so the order between them should not matter.
 *
 * The phase order is table-driven; see the state_ops tables in daq2_bringup.c
 * and the generic phase walker in jesd204_fsm.c.
 *
 * @retval 0 if both links reach running state.
 * @retval -errno if a walk could not be started, or -EIO if either link failed
 *         to come fully up.
 */
int daq2_jesd204_bringup(void);

#endif /* DAQ2_BRINGUP_H_ */
```
